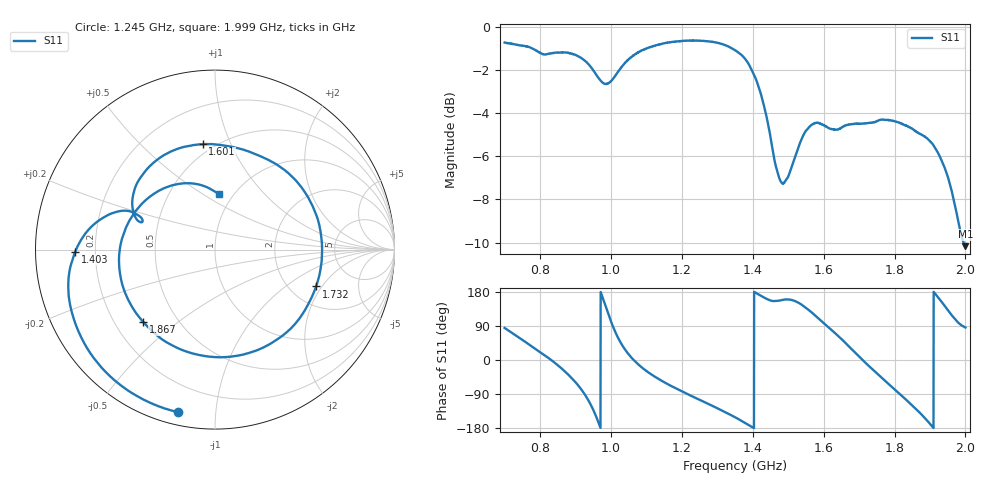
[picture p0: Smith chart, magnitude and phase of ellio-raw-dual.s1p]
!Keysight Technologies,P9371A,MY57212015,A.15.65.19
!Date: Thursday, October 27, 2022 14:34:34
!Correction: S11(C  1-Port  )
!S1P File: Measurement: S11:
# Hz S  dB  R 50
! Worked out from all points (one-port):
!   2601 points, 700 MHz to 2 GHz, reference 50 ohm
!   lowest |S11| = -10.2 dB at 2 GHz (marker M1), VSWR 1.90, Z = 43 + j29.5 ohm
!   |S11| at or under -10 dB: 1.994933 GHz to end of sweep
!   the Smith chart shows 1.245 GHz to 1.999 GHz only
!   S11 on the Smith chart (normalised r, x): 1.245 GHz: 0.06, -0.80; 1.403 GHz: 0.12, -0.01; 1.601 GHz: 0.44, +0.79; 1.732 GHz: 2.75, -1.76; 1.867 GHz: 0.32, -0.38; 1.999 GHz: 0.86, +0.59
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7e8  -0.73 84.6
7.855e8  -1.07 29.7
8.625e8  -1.19 -23.7
9.275e8  -1.59 -92.7
9.48e8  -1.97 -127.5
9.685e8  -2.45 -174.0
9.97e8  -2.57 109.3
1.025e9  -1.97 49.9
1.0485e9  -1.53 16.6
1.0785e9  -1.17 -12.8
1.1295e9  -0.85 -47.3
1.1875e9  -0.68 -76.9
1.245e9  -0.64 -102.8
1.35e9  -1.08 -151.0
1.4025e9  -2.18 -179.2
1.4665e9  -6.53 155.9
1.5125e9  -6.37 157.7
1.5535e9  -4.76 135.2
1.601e9  -4.57 96.8
1.675e9  -4.52 32.3
1.7325e9  -4.45 -20.0
1.7875e9  -4.33 -66.9
1.8375e9  -4.61 -109.0
1.8665e9  -4.91 -134.7
1.9085e9  -5.46 -177.7
1.947e9  -6.78 136.1
1.999e9  -10.13 86.2
2e9  -10.16 85.8
